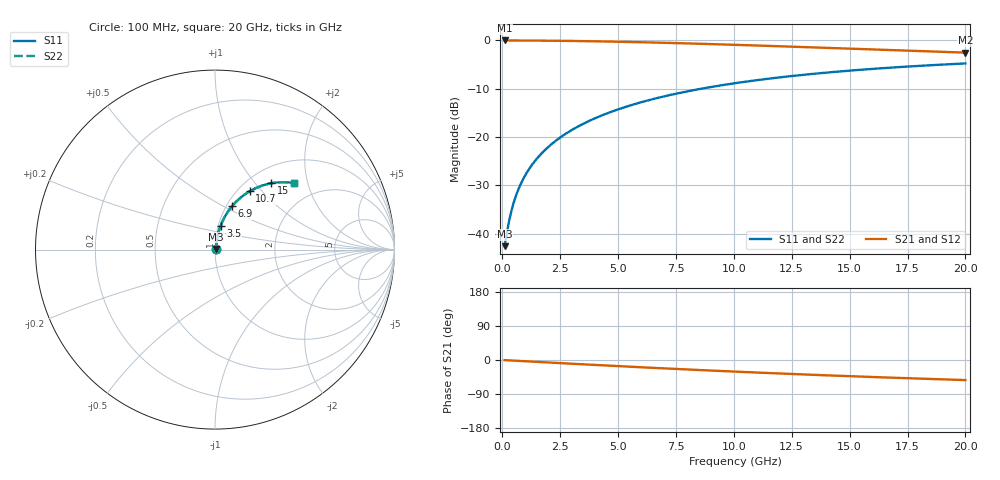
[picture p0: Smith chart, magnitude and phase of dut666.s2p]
! Touchstone file exported from HFSS 2024.1.0
!  File:  C:/UserFiles/LocalFiles/RDL_TSV_Batchsim/temp_RDL_bottom_666_1779785988.aedt
!  Generated:  05:02:26 PM May 26, 2026
!  Design:  RDL_bottom
!  Project:  temp_RDL_bottom_666_1779785988
!  Setup:  Setup1
!  Solution:  Sweep
! Variables:
!  dtsv = 10.80580581um
!  hbump = 3um
!  htsv = 94.8um
!  ldown = 695.02um
!  lrdl = 100um
!  p = 40
!  p1 = 53.31um
!  rhole = 1um
!  t = 450um
!  tdown = 3.75um
!  trdl = 3.915915916um
!  wdown = 10.54um
!  wrdl = 20um
# GHz S MA R 50.000000
! Terminal data exported
! Port[1] = RDL1_T1
! Port[2] = RDL1_T2
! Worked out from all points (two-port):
!   200 points, 100 MHz to 20 GHz, reference 50 ohm
!   highest |S21| = -0.05 dB at 100 MHz (marker M1); lowest = -2.6 dB at 20 GHz (marker M2)
!   |S21| within 3 dB of the highest: start of sweep to end of sweep
!   lowest |S11| = -42.6 dB at 100 MHz (marker M3), VSWR 1.01, Z = 50.6 + j0.41 ohm
!   |S11| at or under -10 dB: start of sweep to 8.631 GHz
!   |S22| runs from -42.6 to -4.8 dB; largest |S21 - S12| = 3.2e-15
!   S11 on the Smith chart (normalised r, x): 100 MHz: 1.01, +0.01; 3.5 GHz: 1.03, +0.28; 6.9 GHz: 1.06, +0.55; 10.7 GHz: 1.13, +0.86; 15 GHz: 1.26, +1.22; 20 GHz: 1.48, +1.64
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0.1  0.007422 33.1  0.9938 -0.3  0.9938 -0.3  0.007422 33.1
! Gamma 0 0 0 0
! Port Impedance 50 0 50 0
0.2  0.01027 51.9  0.9937 -0.7  0.9937 -0.7  0.01027 51.9
0.3  0.01374 61.7  0.9936 -1.0  0.9936 -1.0  0.01374 61.7
0.4  0.01743 67.2  0.9934 -1.3  0.9934 -1.3  0.01743 67.2
0.5  0.02121 70.7  0.9932 -1.7  0.9932 -1.7  0.02121 70.7
0.6  0.02503 73.0  0.993 -2.0  0.993 -2.0  0.02503 73.0
0.8  0.03274 75.8  0.9925 -2.7  0.9925 -2.7  0.03274 75.8
1.1  0.04436 77.9  0.9917 -3.7  0.9917 -3.7  0.04436 77.9
1.5  0.0599 78.9  0.9903 -5.0  0.9903 -5.0  0.05989 78.9
2.1  0.08318 79.0  0.9876 -6.9  0.9876 -6.9  0.08318 79.0
2.7  0.1063 78.2  0.9841 -8.9  0.9841 -8.9  0.1063 78.2
3.5  0.1369 76.7  0.9783 -11.4  0.9783 -11.4  0.1369 76.7
5  0.1926 73.3  0.9642 -16.2  0.9642 -16.2  0.1926 73.3
6.8  0.2562 68.8  0.9427 -21.6  0.9427 -21.6  0.2561 68.8
6.9  0.2596 68.6  0.9414 -21.9  0.9414 -21.9  0.2596 68.6
8.4  0.3089 64.8  0.9206 -26.2  0.9206 -26.2  0.3089 64.8
10.1  0.3607 60.7  0.8952 -30.8  0.8952 -30.8  0.3607 60.7
10.7  0.3779 59.2  0.8858 -32.4  0.8858 -32.4  0.3779 59.2
13.4  0.4482 53.1  0.8432 -39.1  0.8432 -39.1  0.4482 53.1
15  0.4845 49.7  0.8179 -42.7  0.8179 -42.7  0.4845 49.7
16.7  0.519 46.3  0.7918 -46.4  0.7918 -46.4  0.5189 46.3
20  0.575 40.2  0.7439 -53.0  0.7439 -53.0  0.5749 40.2
